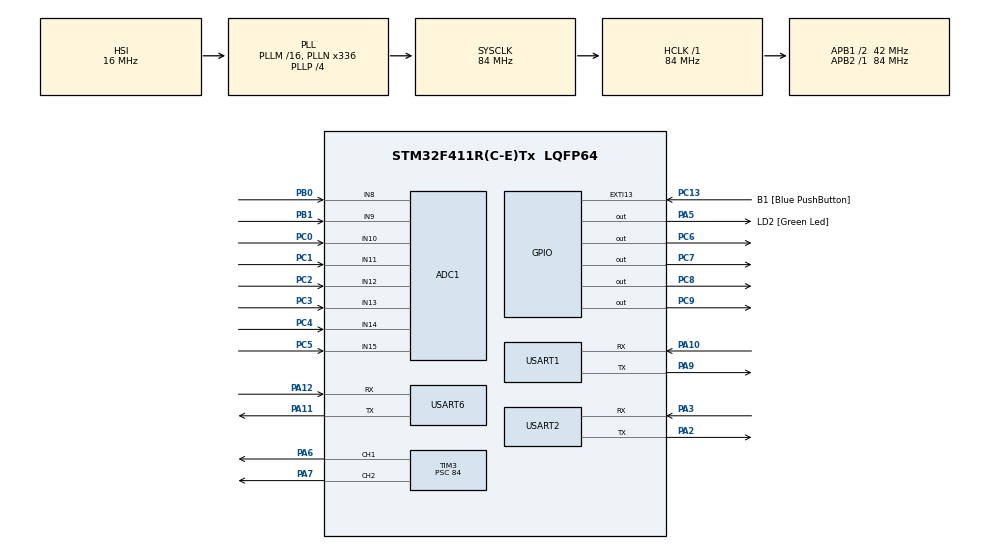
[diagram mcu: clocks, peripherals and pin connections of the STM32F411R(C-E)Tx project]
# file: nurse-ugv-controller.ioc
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ADC1.Channel-10\#ChannelRegularConversion=ADC_CHANNEL_13
ADC1.Channel-11\#ChannelRegularConversion=ADC_CHANNEL_14
ADC1.Channel-12\#ChannelRegularConversion=ADC_CHANNEL_15
ADC1.Channel-5\#ChannelRegularConversion=ADC_CHANNEL_8
ADC1.Channel-6\#ChannelRegularConversion=ADC_CHANNEL_9
ADC1.Channel-7\#ChannelRegularConversion=ADC_CHANNEL_10
ADC1.Channel-8\#ChannelRegularConversion=ADC_CHANNEL_11
ADC1.Channel-9\#ChannelRegularConversion=ADC_CHANNEL_12
ADC1.ContinuousConvMode=DISABLE
ADC1.DMAContinuousRequests=DISABLE
ADC1.EOCSelection=ADC_EOC_SINGLE_CONV
ADC1.NbrOfConversion=8
ADC1.NbrOfConversionFlag=1
ADC1.Rank-10\#ChannelRegularConversion=6
ADC1.Rank-11\#ChannelRegularConversion=7
ADC1.Rank-12\#ChannelRegularConversion=8
ADC1.Rank-5\#ChannelRegularConversion=1
ADC1.Rank-6\#ChannelRegularConversion=2
ADC1.Rank-7\#ChannelRegularConversion=3
ADC1.Rank-8\#ChannelRegularConversion=4
ADC1.Rank-9\#ChannelRegularConversion=5
ADC1.SamplingTime-10\#ChannelRegularConversion=ADC_SAMPLETIME_3CYCLES
ADC1.SamplingTime-11\#ChannelRegularConversion=ADC_SAMPLETIME_3CYCLES
ADC1.SamplingTime-12\#ChannelRegularConversion=ADC_SAMPLETIME_3CYCLES
ADC1.SamplingTime-5\#ChannelRegularConversion=ADC_SAMPLETIME_3CYCLES
ADC1.SamplingTime-6\#ChannelRegularConversion=ADC_SAMPLETIME_3CYCLES
ADC1.SamplingTime-7\#ChannelRegularConversion=ADC_SAMPLETIME_3CYCLES
ADC1.SamplingTime-8\#ChannelRegularConversion=ADC_SAMPLETIME_3CYCLES
ADC1.SamplingTime-9\#ChannelRegularConversion=ADC_SAMPLETIME_3CYCLES
ADC1.ScanConvMode=ENABLE
ADC1.master=1
Dma.ADC1.0.Direction=DMA_PERIPH_TO_MEMORY
Dma.ADC1.0.FIFOMode=DMA_FIFOMODE_DISABLE
Dma.ADC1.0.Instance=DMA2_Stream0
Dma.ADC1.0.MemDataAlignment=DMA_MDATAALIGN_HALFWORD
Dma.ADC1.0.MemInc=DMA_MINC_ENABLE
Dma.ADC1.0.Mode=DMA_NORMAL
Dma.ADC1.0.PeriphDataAlignment=DMA_PDATAALIGN_HALFWORD
Dma.ADC1.0.PeriphInc=DMA_PINC_DISABLE
Dma.ADC1.0.Priority=DMA_PRIORITY_VERY_HIGH
Dma.Request0=ADC1
FREERTOS.Tasks01=IdleTask,8,128,StartIdleTask,Default,NULL,Dynamic,NULL,NULL
FREERTOS.configTOTAL_HEAP_SIZE=102400
Mcu.Family=STM32F4
Mcu.Name=STM32F411R(C-E)Tx
Mcu.Package=LQFP64
NVIC.DMA2_Stream0_IRQn=true\:5\:0\:false\:false\:true\:false\:false\:true
NVIC.PriorityGroup=NVIC_PRIORITYGROUP_4
NVIC.TIM1_UP_TIM10_IRQn=true\:15\:0\:false\:false\:true\:false\:false\:true
NVIC.TimeBase=TIM1_UP_TIM10_IRQn
NVIC.TimeBaseIP=TIM1
NVIC.USART1_IRQn=true\:5\:0\:false\:false\:true\:true\:true\:true
NVIC.USART2_IRQn=true\:5\:0\:false\:false\:true\:true\:true\:true
NVIC.USART6_IRQn=true\:5\:0\:false\:false\:true\:true\:true\:true
PA10.Mode=Asynchronous
PA10.Signal=USART1_RX
PA11.Mode=Asynchronous
PA11.Signal=USART6_TX
PA12.Mode=Asynchronous
PA12.Signal=USART6_RX
PA13.GPIO_Label=TMS
PA13.Mode=Serial_Wire
PA13.Signal=SYS_JTMS-SWDIO
PA14.GPIO_Label=TCK
PA14.Mode=Serial_Wire
PA14.Signal=SYS_JTCK-SWCLK
PA2.GPIO_ModeDefaultPP=GPIO_MODE_AF_PP
PA2.GPIO_PuPd=GPIO_NOPULL
PA2.GPIO_Speed=GPIO_SPEED_FREQ_VERY_HIGH
PA2.Mode=Asynchronous
PA2.Signal=USART2_TX
PA3.GPIO_ModeDefaultPP=GPIO_MODE_AF_PP
PA3.GPIO_PuPd=GPIO_NOPULL
PA3.GPIO_Speed=GPIO_SPEED_FREQ_VERY_HIGH
PA3.Mode=Asynchronous
PA3.Signal=USART2_RX
PA5.GPIO_Label=LD2 [Green Led]
PA5.Signal=GPIO_Output
PA6.Signal=S_TIM3_CH1
PA7.Signal=S_TIM3_CH2
PA9.Mode=Asynchronous
PA9.Signal=USART1_TX
PB0.Signal=ADCx_IN8
PB1.Signal=ADCx_IN9
PB3.GPIO_Label=SWO
PB3.Signal=SYS_JTDO-SWO
PC0.Signal=ADCx_IN10
PC1.Signal=ADCx_IN11
PC13-ANTI_TAMP.GPIO_Label=B1 [Blue PushButton]
PC13-ANTI_TAMP.GPIO_ModeDefaultEXTI=GPIO_MODE_IT_FALLING
PC13-ANTI_TAMP.Signal=GPXTI13
PC14-OSC32_IN.Mode=LSE-External-Oscillator
PC14-OSC32_IN.Signal=RCC_OSC32_IN
PC15-OSC32_OUT.Mode=LSE-External-Oscillator
PC15-OSC32_OUT.Signal=RCC_OSC32_OUT
PC2.Signal=ADCx_IN12
PC3.Signal=ADCx_IN13
PC4.Signal=ADCx_IN14
PC5.Signal=ADCx_IN15
PC6.Signal=GPIO_Output
PC7.Signal=GPIO_Output
PC8.Signal=GPIO_Output
PC9.Signal=GPIO_Output
PH0\ -\ OSC_IN.Mode=HSE-External-Clock-Source
PH0\ -\ OSC_IN.Signal=RCC_OSC_IN
PH1\ -\ OSC_OUT.Mode=HSE-External-Clock-Source
PH1\ -\ OSC_OUT.Signal=RCC_OSC_OUT
ProjectManager.HeapSize=0x200
ProjectManager.StackSize=0x400
ProjectManager.TargetToolchain=STM32CubeIDE
RCC.48MHZClocksFreq_Value=84000000
RCC.AHBFreq_Value=84000000
RCC.APB1CLKDivider=RCC_HCLK_DIV2
RCC.APB1Freq_Value=42000000
RCC.APB1TimFreq_Value=84000000
RCC.APB2Freq_Value=84000000
RCC.APB2TimFreq_Value=84000000
RCC.CortexFreq_Value=84000000
RCC.FLatency-AdvancedSettings=FLASH_LATENCY_2
RCC.HCLKFreq_Value=84000000
RCC.HSE_VALUE=8000000
RCC.HSI_VALUE=16000000
RCC.PLLN=336
RCC.PLLP=RCC_PLLP_DIV4
RCC.SYSCLKFreq_VALUE=84000000
RCC.SYSCLKSource=RCC_SYSCLKSOURCE_PLLCLK
RCC.VCOOutputFreq_Value=336000000
SH.ADCx_IN10.0=ADC1_IN10,IN10
SH.ADCx_IN11.0=ADC1_IN11,IN11
SH.ADCx_IN12.0=ADC1_IN12,IN12
SH.ADCx_IN13.0=ADC1_IN13,IN13
SH.ADCx_IN14.0=ADC1_IN14,IN14
SH.ADCx_IN15.0=ADC1_IN15,IN15
SH.ADCx_IN8.0=ADC1_IN8,IN8
SH.ADCx_IN9.0=ADC1_IN9,IN9
SH.S_TIM3_CH1.0=TIM3_CH1,PWM Generation1 CH1
SH.S_TIM3_CH2.0=TIM3_CH2,PWM Generation2 CH2
TIM3.Channel-PWM\ Generation1\ CH1=TIM_CHANNEL_1
TIM3.Channel-PWM\ Generation2\ CH2=TIM_CHANNEL_2
TIM3.Period=1000-1
TIM3.Prescaler=84
USART1.VirtualMode=VM_ASYNC
USART2.VirtualMode=VM_ASYNC
USART6.VirtualMode=VM_ASYNC
VP_FREERTOS_VS_CMSIS_V2.Mode=CMSIS_V2
VP_SYS_VS_tim1.Mode=TIM1
VP_TIM3_VS_ClockSourceINT.Mode=Internal
board=NUCLEO-F411RE

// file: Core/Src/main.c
/* USER CODE BEGIN Header */
/**
  ******************************************************************************
  * @file           : main.c
  * @brief          : Main program body
  ******************************************************************************
  * @attention
  *
  * Copyright (c) 2022 STMicroelectronics.
  * All rights reserved.
  *
  * This software is licensed under terms that can be found in the LICENSE file
  * in the root directory of this software component.
  * If no LICENSE file comes with this software, it is provided AS-IS.
  *
  ******************************************************************************
  */
/* USER CODE END Header */
#include "main.h"
#include "cmsis_os.h"

/* USER CODE BEGIN Includes */
#include "ugv_cmsis_interface.h"
/* USER CODE END Includes */

ADC_HandleTypeDef hadc1;
DMA_HandleTypeDef hdma_adc1;

TIM_HandleTypeDef htim3;

UART_HandleTypeDef huart1;
UART_HandleTypeDef huart2;
UART_HandleTypeDef huart6;

/* Definitions for IdleTask */
osThreadId_t IdleTaskHandle;
const osThreadAttr_t IdleTask_attributes = {
  .name = "IdleTask",
  .stack_size = 128 * 4,
  .priority = (osPriority_t) osPriorityLow,
};
/* USER CODE BEGIN PV */

// Create the task manager handle and attributes
osThreadId_t TaskManagerHandle;
const osThreadAttr_t TaskManager_attributes = {
  .name = "TaskManager",
  .stack_size = TASK_MANAGER_STACK_SIZE,
  .priority = (osPriority_t) osPriorityHigh,
};

// Serial uart handle
UART_HandleTypeDef *serial_uart_handle;
UART_HandleTypeDef *navigator_uart_handle;
UART_HandleTypeDef *wifi_module_uart_handle;

// ADC Handle
ADC_HandleTypeDef *sensor_adc_handle;

// PWM Handle
TIM_HandleTypeDef *pwm_timer_handle;
/* USER CODE END PV */

void SystemClock_Config(void);
static void MX_GPIO_Init(void);
static void MX_USART2_UART_Init(void);
static void MX_ADC1_Init(void);
static void MX_USART6_UART_Init(void);
static void MX_DMA_Init(void);
static void MX_USART1_UART_Init(void);
static void MX_TIM3_Init(void);
void StartIdleTask(void *argument);

/* USER CODE BEGIN 0 */
//void StartTaskManager(void *argument) {
//
//}
/* USER CODE END 0 */

int main(void)
{

  /* MCU Configuration--------------------------------------------------------*/

  /* Reset of all peripherals, Initializes the Flash interface and the Systick. */
  HAL_Init();

  /* Configure the system clock */
  SystemClock_Config();

  /* Initialize all configured peripherals */
  MX_GPIO_Init();
  MX_USART2_UART_Init();
  MX_DMA_Init();
  MX_ADC1_Init();
  MX_USART6_UART_Init();
  MX_USART1_UART_Init();
  MX_TIM3_Init();
  /* USER CODE BEGIN 2 */

  // Give a pointer to the uart handle to the serial module
  wifi_module_uart_handle = &huart6;
  serial_uart_handle = &huart2;
  navigator_uart_handle = &huart1;

  sensor_adc_handle = &hadc1;

  pwm_timer_handle = &htim3;

  /* USER CODE END 2 */

  /* Init scheduler */
  osKernelInitialize();

  /* Create the thread(s) */
  /* creation of IdleTask */
  IdleTaskHandle = osThreadNew(StartIdleTask, NULL, &IdleTask_attributes);

  /* USER CODE BEGIN RTOS_THREADS */
  TaskManagerHandle = osThreadNew(StartTaskManager, NULL, &TaskManager_attributes);
  task_handles[0] = TaskManagerHandle;
  /* USER CODE END RTOS_THREADS */

  /* Start scheduler */
  osKernelStart();

  /* We should never get here as control is now taken by the scheduler */
  /* Infinite loop */
  while (1)
  {

  }
}

void SystemClock_Config(void)
{
  RCC_OscInitTypeDef RCC_OscInitStruct = {0};
  RCC_ClkInitTypeDef RCC_ClkInitStruct = {0};

  /** Configure the main internal regulator output voltage
  */
  __HAL_RCC_PWR_CLK_ENABLE();
  __HAL_PWR_VOLTAGESCALING_CONFIG(PWR_REGULATOR_VOLTAGE_SCALE1);
  /** Initializes the RCC Oscillators according to the specified parameters
  * in the RCC_OscInitTypeDef structure.
  */
  RCC_OscInitStruct.OscillatorType = RCC_OSCILLATORTYPE_HSI;
  RCC_OscInitStruct.HSIState = RCC_HSI_ON;
  RCC_OscInitStruct.HSICalibrationValue = RCC_HSICALIBRATION_DEFAULT;
  RCC_OscInitStruct.PLL.PLLState = RCC_PLL_ON;
  RCC_OscInitStruct.PLL.PLLSource = RCC_PLLSOURCE_HSI;
  RCC_OscInitStruct.PLL.PLLM = 16;
  RCC_OscInitStruct.PLL.PLLN = 336;
  RCC_OscInitStruct.PLL.PLLP = RCC_PLLP_DIV4;
  RCC_OscInitStruct.PLL.PLLQ = 4;
  if (HAL_RCC_OscConfig(&RCC_OscInitStruct) != HAL_OK)
  {
    Error_Handler();
  }
  /** Initializes the CPU, AHB and APB buses clocks
  */
  RCC_ClkInitStruct.ClockType = RCC_CLOCKTYPE_HCLK|RCC_CLOCKTYPE_SYSCLK
                              |RCC_CLOCKTYPE_PCLK1|RCC_CLOCKTYPE_PCLK2;
  RCC_ClkInitStruct.SYSCLKSource = RCC_SYSCLKSOURCE_PLLCLK;
  RCC_ClkInitStruct.AHBCLKDivider = RCC_SYSCLK_DIV1;
  RCC_ClkInitStruct.APB1CLKDivider = RCC_HCLK_DIV2;
  RCC_ClkInitStruct.APB2CLKDivider = RCC_HCLK_DIV1;

  if (HAL_RCC_ClockConfig(&RCC_ClkInitStruct, FLASH_LATENCY_2) != HAL_OK)
  {
    Error_Handler();
  }
}

static void MX_ADC1_Init(void)
{

  ADC_ChannelConfTypeDef sConfig = {0};

  /** Configure the global features of the ADC (Clock, Resolution, Data Alignment and number of conversion)
  */
  hadc1.Instance = ADC1;
  hadc1.Init.ClockPrescaler = ADC_CLOCK_SYNC_PCLK_DIV4;
  hadc1.Init.Resolution = ADC_RESOLUTION_12B;
  hadc1.Init.ScanConvMode = ENABLE;
  hadc1.Init.ContinuousConvMode = DISABLE;
  hadc1.Init.DiscontinuousConvMode = DISABLE;
  hadc1.Init.ExternalTrigConvEdge = ADC_EXTERNALTRIGCONVEDGE_NONE;
  hadc1.Init.ExternalTrigConv = ADC_SOFTWARE_START;
  hadc1.Init.DataAlign = ADC_DATAALIGN_RIGHT;
  hadc1.Init.NbrOfConversion = 8;
  hadc1.Init.DMAContinuousRequests = DISABLE;
  hadc1.Init.EOCSelection = ADC_EOC_SINGLE_CONV;
  if (HAL_ADC_Init(&hadc1) != HAL_OK)
  {
    Error_Handler();
  }
  /** Configure for the selected ADC regular channel its corresponding rank in the sequencer and its sample time.
  */
  sConfig.Channel = ADC_CHANNEL_8;
  sConfig.Rank = 1;
  sConfig.SamplingTime = ADC_SAMPLETIME_3CYCLES;
  if (HAL_ADC_ConfigChannel(&hadc1, &sConfig) != HAL_OK)
  {
    Error_Handler();
  }
  /** Configure for the selected ADC regular channel its corresponding rank in the sequencer and its sample time.
  */
  sConfig.Channel = ADC_CHANNEL_9;
  sConfig.Rank = 2;
  if (HAL_ADC_ConfigChannel(&hadc1, &sConfig) != HAL_OK)
  {
    Error_Handler();
  }
  /** Configure for the selected ADC regular channel its corresponding rank in the sequencer and its sample time.
  */
  sConfig.Channel = ADC_CHANNEL_10;
  sConfig.Rank = 3;
  if (HAL_ADC_ConfigChannel(&hadc1, &sConfig) != HAL_OK)
  {
    Error_Handler();
  }
  /** Configure for the selected ADC regular channel its corresponding rank in the sequencer and its sample time.
  */
  sConfig.Channel = ADC_CHANNEL_11;
  sConfig.Rank = 4;
  if (HAL_ADC_ConfigChannel(&hadc1, &sConfig) != HAL_OK)
  {
    Error_Handler();
  }
  /** Configure for the selected ADC regular channel its corresponding rank in the sequencer and its sample time.
  */
  sConfig.Channel = ADC_CHANNEL_12;
  sConfig.Rank = 5;
  if (HAL_ADC_ConfigChannel(&hadc1, &sConfig) != HAL_OK)
  {
    Error_Handler();
  }
  /** Configure for the selected ADC regular channel its corresponding rank in the sequencer and its sample time.
  */
  sConfig.Channel = ADC_CHANNEL_13;
  sConfig.Rank = 6;
  if (HAL_ADC_ConfigChannel(&hadc1, &sConfig) != HAL_OK)
  {
    Error_Handler();
  }
  /** Configure for the selected ADC regular channel its corresponding rank in the sequencer and its sample time.
  */
  sConfig.Channel = ADC_CHANNEL_14;
  sConfig.Rank = 7;
  if (HAL_ADC_ConfigChannel(&hadc1, &sConfig) != HAL_OK)
  {
    Error_Handler();
  }
  /** Configure for the selected ADC regular channel its corresponding rank in the sequencer and its sample time.
  */
  sConfig.Channel = ADC_CHANNEL_15;
  sConfig.Rank = 8;
  if (HAL_ADC_ConfigChannel(&hadc1, &sConfig) != HAL_OK)
  {
    Error_Handler();
  }

}

static void MX_TIM3_Init(void)
{

  TIM_ClockConfigTypeDef sClockSourceConfig = {0};
  TIM_MasterConfigTypeDef sMasterConfig = {0};
  TIM_OC_InitTypeDef sConfigOC = {0};

  htim3.Instance = TIM3;
  htim3.Init.Prescaler = 84;
  htim3.Init.CounterMode = TIM_COUNTERMODE_UP;
  htim3.Init.Period = 1000-1;
  htim3.Init.ClockDivision = TIM_CLOCKDIVISION_DIV1;
  htim3.Init.AutoReloadPreload = TIM_AUTORELOAD_PRELOAD_DISABLE;
  if (HAL_TIM_Base_Init(&htim3) != HAL_OK)
  {
    Error_Handler();
  }
  sClockSourceConfig.ClockSource = TIM_CLOCKSOURCE_INTERNAL;
  if (HAL_TIM_ConfigClockSource(&htim3, &sClockSourceConfig) != HAL_OK)
  {
    Error_Handler();
  }
  if (HAL_TIM_PWM_Init(&htim3) != HAL_OK)
  {
    Error_Handler();
  }
  sMasterConfig.MasterOutputTrigger = TIM_TRGO_RESET;
  sMasterConfig.MasterSlaveMode = TIM_MASTERSLAVEMODE_DISABLE;
  if (HAL_TIMEx_MasterConfigSynchronization(&htim3, &sMasterConfig) != HAL_OK)
  {
    Error_Handler();
  }
  sConfigOC.OCMode = TIM_OCMODE_PWM1;
  sConfigOC.Pulse = 0;
  sConfigOC.OCPolarity = TIM_OCPOLARITY_HIGH;
  sConfigOC.OCFastMode = TIM_OCFAST_DISABLE;
  if (HAL_TIM_PWM_ConfigChannel(&htim3, &sConfigOC, TIM_CHANNEL_1) != HAL_OK)
  {
    Error_Handler();
  }
  if (HAL_TIM_PWM_ConfigChannel(&htim3, &sConfigOC, TIM_CHANNEL_2) != HAL_OK)
  {
    Error_Handler();
  }
  HAL_TIM_MspPostInit(&htim3);

}

static void MX_USART1_UART_Init(void)
{

  huart1.Instance = USART1;
  huart1.Init.BaudRate = 115200;
  huart1.Init.WordLength = UART_WORDLENGTH_8B;
  huart1.Init.StopBits = UART_STOPBITS_1;
  huart1.Init.Parity = UART_PARITY_NONE;
  huart1.Init.Mode = UART_MODE_TX_RX;
  huart1.Init.HwFlowCtl = UART_HWCONTROL_NONE;
  huart1.Init.OverSampling = UART_OVERSAMPLING_16;
  if (HAL_UART_Init(&huart1) != HAL_OK)
  {
    Error_Handler();
  }

}

static void MX_USART2_UART_Init(void)
{

  huart2.Instance = USART2;
  huart2.Init.BaudRate = 115200;
  huart2.Init.WordLength = UART_WORDLENGTH_8B;
  huart2.Init.StopBits = UART_STOPBITS_1;
  huart2.Init.Parity = UART_PARITY_NONE;
  huart2.Init.Mode = UART_MODE_TX_RX;
  huart2.Init.HwFlowCtl = UART_HWCONTROL_NONE;
  huart2.Init.OverSampling = UART_OVERSAMPLING_16;
  if (HAL_UART_Init(&huart2) != HAL_OK)
  {
    Error_Handler();
  }

}

static void MX_USART6_UART_Init(void)
{

  huart6.Instance = USART6;
  huart6.Init.BaudRate = 115200;
  huart6.Init.WordLength = UART_WORDLENGTH_8B;
  huart6.Init.StopBits = UART_STOPBITS_1;
  huart6.Init.Parity = UART_PARITY_NONE;
  huart6.Init.Mode = UART_MODE_TX_RX;
  huart6.Init.HwFlowCtl = UART_HWCONTROL_NONE;
  huart6.Init.OverSampling = UART_OVERSAMPLING_16;
  if (HAL_UART_Init(&huart6) != HAL_OK)
  {
    Error_Handler();
  }

}

static void MX_DMA_Init(void)
{

  /* DMA controller clock enable */
  __HAL_RCC_DMA2_CLK_ENABLE();

  /* DMA interrupt init */
  /* DMA2_Stream0_IRQn interrupt configuration */
  HAL_NVIC_SetPriority(DMA2_Stream0_IRQn, 5, 0);
  HAL_NVIC_EnableIRQ(DMA2_Stream0_IRQn);

}

static void MX_GPIO_Init(void)
{
  GPIO_InitTypeDef GPIO_InitStruct = {0};

  /* GPIO Ports Clock Enable */
  __HAL_RCC_GPIOC_CLK_ENABLE();
  __HAL_RCC_GPIOH_CLK_ENABLE();
  __HAL_RCC_GPIOA_CLK_ENABLE();
  __HAL_RCC_GPIOB_CLK_ENABLE();

  /*Configure GPIO pin Output Level */
  HAL_GPIO_WritePin(LD2_GPIO_Port, LD2_Pin, GPIO_PIN_RESET);

  /*Configure GPIO pin Output Level */
  HAL_GPIO_WritePin(GPIOC, GPIO_PIN_6|GPIO_PIN_7|GPIO_PIN_8|GPIO_PIN_9, GPIO_PIN_RESET);

  /*Configure GPIO pin : B1_Pin */
  GPIO_InitStruct.Pin = B1_Pin;
  GPIO_InitStruct.Mode = GPIO_MODE_IT_FALLING;
  GPIO_InitStruct.Pull = GPIO_NOPULL;
  HAL_GPIO_Init(B1_GPIO_Port, &GPIO_InitStruct);

  /*Configure GPIO pin : LD2_Pin */
  GPIO_InitStruct.Pin = LD2_Pin;
  GPIO_InitStruct.Mode = GPIO_MODE_OUTPUT_PP;
  GPIO_InitStruct.Pull = GPIO_NOPULL;
  GPIO_InitStruct.Speed = GPIO_SPEED_FREQ_LOW;
  HAL_GPIO_Init(LD2_GPIO_Port, &GPIO_InitStruct);

  /*Configure GPIO pins : PC6 PC7 PC8 PC9 */
  GPIO_InitStruct.Pin = GPIO_PIN_6|GPIO_PIN_7|GPIO_PIN_8|GPIO_PIN_9;
  GPIO_InitStruct.Mode = GPIO_MODE_OUTPUT_PP;
  GPIO_InitStruct.Pull = GPIO_NOPULL;
  GPIO_InitStruct.Speed = GPIO_SPEED_FREQ_LOW;
  HAL_GPIO_Init(GPIOC, &GPIO_InitStruct);

}

void StartIdleTask(void *argument)
{
  /* USER CODE BEGIN 5 */
  /* Infinite loop */
  for(;;)
  {
	  osDelay(10);
  }
  /* USER CODE END 5 */
}

void HAL_TIM_PeriodElapsedCallback(TIM_HandleTypeDef *htim)
{
  if (htim->Instance == TIM1) {
    HAL_IncTick();
  }
}

void Error_Handler(void)
{
  __disable_irq();
  while (1)
  {
  }
}
